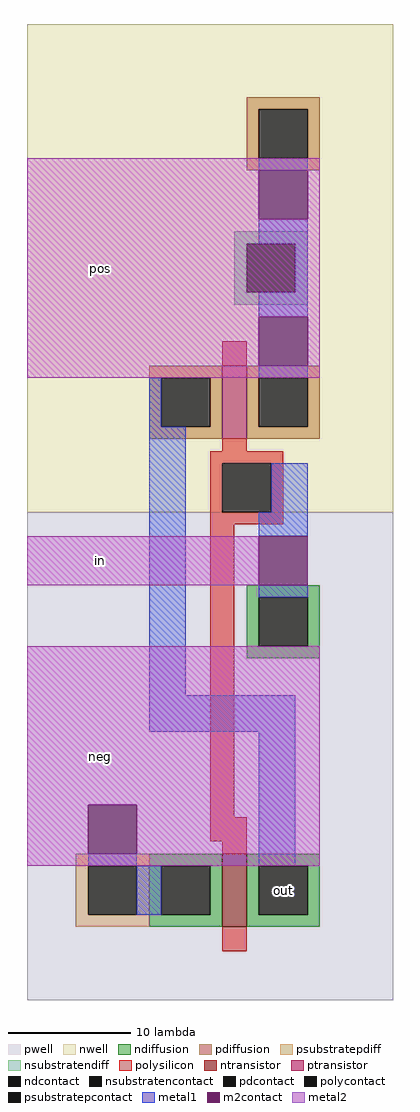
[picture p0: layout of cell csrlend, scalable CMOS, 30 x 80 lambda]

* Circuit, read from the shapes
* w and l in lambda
.subckt csrlend in neg out pos
M1 out in neg neg nfet w=6 l=2
M2 pos in out pos pfet w=6 l=2
.ends

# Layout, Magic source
magic
tech scmos
<< nwell >>
rect -4 47 26 87
<< pwell >>
rect -4 7 26 47
<< ntransistor >>
rect 12 13 14 19
<< ptransistor >>
rect 12 53 14 59
<< ndiffusion >>
rect 14 40 20 41
rect 14 36 15 40
rect 19 36 20 40
rect 14 35 20 36
rect 6 18 12 19
rect 6 14 7 18
rect 11 14 12 18
rect 6 13 12 14
rect 14 18 20 19
rect 14 14 15 18
rect 19 14 20 18
rect 14 13 20 14
<< pdiffusion >>
rect 14 80 20 81
rect 14 76 15 80
rect 19 76 20 80
rect 14 75 20 76
rect 6 58 12 59
rect 6 54 7 58
rect 11 54 12 58
rect 6 53 12 54
rect 14 58 20 59
rect 14 54 15 58
rect 19 54 20 58
rect 14 53 20 54
<< ndcontact >>
rect 15 36 19 40
rect 7 14 11 18
rect 15 14 19 18
<< pdcontact >>
rect 15 76 19 80
rect 7 54 11 58
rect 15 54 19 58
<< psubstratepdiff >>
rect 0 18 6 19
rect 0 14 1 18
rect 5 14 6 18
rect 0 13 6 14
<< nsubstratendiff >>
rect 13 69 19 70
rect 13 65 14 69
rect 18 65 19 69
rect 13 64 19 65
<< psubstratepcontact >>
rect 1 14 5 18
<< nsubstratencontact >>
rect 14 65 18 69
<< polysilicon >>
rect 12 59 14 61
rect 12 52 14 53
rect 11 51 17 52
rect 11 47 12 51
rect 16 47 17 51
rect 11 46 17 47
rect 11 22 13 46
rect 11 20 14 22
rect 12 19 14 20
rect 12 11 14 13
<< polycontact >>
rect 12 47 16 51
<< metal1 >>
rect 15 75 19 76
rect 15 69 19 71
rect 18 65 19 69
rect 15 63 19 65
rect 15 58 19 59
rect 6 54 7 58
rect 6 32 9 54
rect 16 47 19 51
rect 15 45 19 47
rect 15 40 19 41
rect 6 29 18 32
rect 1 18 5 19
rect 15 18 18 29
rect 5 14 7 18
<< m2contact >>
rect 15 71 19 75
rect 15 59 19 63
rect 15 41 19 45
rect 1 19 5 23
<< metal2 >>
rect -4 75 20 76
rect -4 71 15 75
rect 19 71 20 75
rect -4 63 20 71
rect -4 59 15 63
rect 19 59 20 63
rect -4 58 20 59
rect -4 41 15 45
rect -4 23 20 36
rect -4 19 1 23
rect 5 19 20 23
rect -4 18 20 19
<< labels >>
rlabel metal2 2 67 2 67 3 pos
rlabel metal2 2 27 2 27 3 neg
rlabel metal2 2 43 2 43 3 in
rlabel ndcontact 17 16 17 16 8 out
<< end >>
